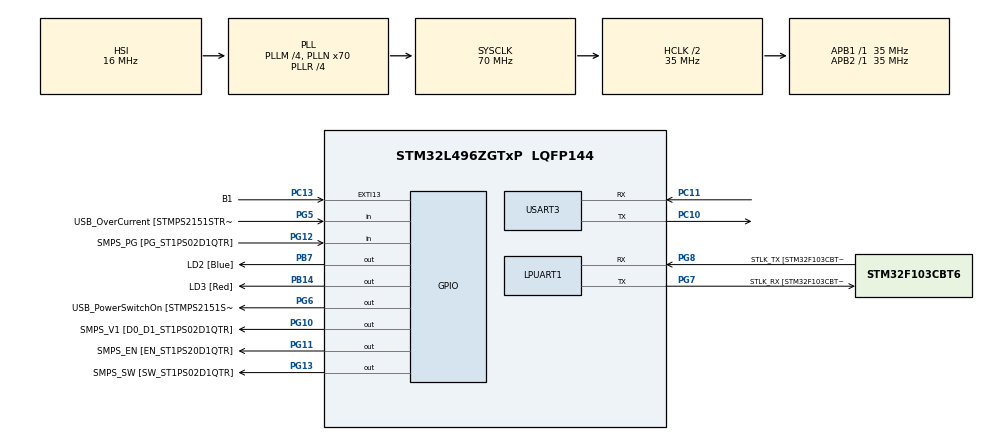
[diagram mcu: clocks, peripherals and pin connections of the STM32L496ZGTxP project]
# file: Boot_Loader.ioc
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Mcu.Family=STM32L4
Mcu.Name=STM32L496ZGTxP
Mcu.Package=LQFP144
NVIC.PriorityGroup=NVIC_PRIORITYGROUP_4
PA10.GPIO_Label=USB_ID
PA10.Signal=USB_OTG_FS_ID
PA11.GPIO_Label=USB_DM
PA11.Signal=USB_OTG_FS_DM
PA12.GPIO_Label=USB_DP
PA12.Signal=USB_OTG_FS_DP
PA13\ (JTMS/SWDIO).GPIO_Label=TMS
PA13\ (JTMS/SWDIO).Mode=Trace_Asynchronous_SW
PA13\ (JTMS/SWDIO).Signal=SYS_JTMS-SWDIO
PA14\ (JTCK/SWCLK).GPIO_Label=TCK
PA14\ (JTCK/SWCLK).Mode=Trace_Asynchronous_SW
PA14\ (JTCK/SWCLK).Signal=SYS_JTCK-SWCLK
PA8.GPIO_Label=USB_SOF [TP1]
PA8.Signal=USB_OTG_FS_SOF
PA9.GPIO_Label=USB_VBUS
PA9.Signal=USB_OTG_FS_VBUS
PB14.GPIO_Label=LD3 [Red]
PB14.Signal=GPIO_Output
PB3\ (JTDO/TRACESWO).GPIO_Label=SWO
PB3\ (JTDO/TRACESWO).Mode=Trace_Asynchronous_SW
PB3\ (JTDO/TRACESWO).Signal=SYS_JTDO-SWO
PB7.GPIO_Label=LD2 [Blue]
PB7.Signal=GPIO_Output
PC10.Mode=Asynchronous
PC10.Signal=USART3_TX
PC11.Mode=Asynchronous
PC11.Signal=USART3_RX
PC13.GPIO_Label=B1
PC13.Signal=GPXTI13
PC14-OSC32_IN\ (PC14).Mode=LSE-External-Oscillator
PC14-OSC32_IN\ (PC14).Signal=RCC_OSC32_IN
PC15-OSC32_OUT\ (PC15).Mode=LSE-External-Oscillator
PC15-OSC32_OUT\ (PC15).Signal=RCC_OSC32_OUT
PG10.GPIO_Label=SMPS_V1 [D0_D1_ST1PS02D1QTR]
PG10.Signal=GPIO_Output
PG11.GPIO_Label=SMPS_EN [EN_ST1PS20D1QTR]
PG11.Signal=GPIO_Output
PG12.GPIO_Label=SMPS_PG [PG_ST1PS02D1QTR]
PG12.Signal=GPIO_Input
PG13.GPIO_Label=SMPS_SW [SW_ST1PS02D1QTR]
PG13.Signal=GPIO_Output
PG5.GPIO_Label=USB_OverCurrent [STMPS2151STR_FAULT]
PG5.Signal=GPIO_Input
PG6.GPIO_Label=USB_PowerSwitchOn [STMPS2151STR_EN]
PG6.Signal=GPIO_Output
PG7.GPIO_Label=STLK_RX [STM32F103CBT6_PA3]
PG7.Mode=Asynchronous
PG7.Signal=LPUART1_TX
PG8.GPIO_Label=STLK_TX [STM32F103CBT6_PA2]
PG8.Mode=Asynchronous
PG8.Signal=LPUART1_RX
PH0-OSC_IN\ (PH0).GPIO_Label=MCO
PH0-OSC_IN\ (PH0).Signal=RCC_OSC_IN
PH1-OSC_OUT\ (PH1).Signal=RCC_OSC_OUT
ProjectManager.HeapSize=0x200
ProjectManager.StackSize=0x400
ProjectManager.TargetToolchain=MDK-ARM V5.32
RCC.48MHZClocksFreq_Value=24000000
RCC.ADCFreq_Value=40000000
RCC.AHBCLKDivider=RCC_SYSCLK_DIV2
RCC.AHBFreq_Value=35000000
RCC.APB1Freq_Value=35000000
RCC.APB1TimFreq_Value=35000000
RCC.APB2Freq_Value=35000000
RCC.APB2TimFreq_Value=35000000
RCC.CortexFreq_Value=35000000
RCC.HCLKFreq_Value=35000000
RCC.HSE_VALUE=8000000
RCC.HSI48_VALUE=48000000
RCC.HSI_VALUE=16000000
RCC.MSIClockRange=RCC_MSIRANGE_9
RCC.MSI_VALUE=24000000
RCC.PLLM=4
RCC.PLLMUL=RCC_PLL_MUL9
RCC.PLLN=70
RCC.PLLR=RCC_PLLR_DIV4
RCC.PLLSAI1N=20
RCC.PLLSourceVirtual=RCC_PLLSOURCE_HSI
RCC.PRESCALERUSB=RCC_USBCLKSOURCE_PLL_DIV1_5
RCC.SYSCLKFreq_VALUE=70000000
RCC.SYSCLKSource=RCC_SYSCLKSOURCE_PLLCLK
RCC.SYSCLKSourceVirtual=RCC_SYSCLKSOURCE_PLLCLK
RCC.USBFreq_Value=40000000
RCC.VCOOutputFreq_Value=280000000
USART3.VirtualMode-Asynchronous=VM_ASYNC
board=NUCLEO-L496ZG-P

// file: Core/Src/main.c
/* USER CODE BEGIN Header */
/**
  ******************************************************************************
  * @file           : main.c
  * @brief          : Main program body
  ******************************************************************************
  * @attention
  *
  * Copyright (c) 2023 STMicroelectronics.
  * All rights reserved.
  *
  * This software is licensed under terms that can be found in the LICENSE file
  * in the root directory of this software component.
  * If no LICENSE file comes with this software, it is provided AS-IS.
  *
  ******************************************************************************
  */
/* USER CODE END Header */
#include "main.h"

/* USER CODE BEGIN Includes */
#include<stdarg.h>
#include<string.h>
#include<stdio.h>
#include<stdint.h>
/* USER CODE END Includes */

/* USER CODE BEGIN PM */
//Enable this line to get debug message over debug uart
#define BL_DEBUG_MSG_EN

#define D_UART 		&huart3
#define C_UART		&hlpuart1

#define FLASH_APP  (FLASH_BASE + 0x8000)
/* USER CODE END PM */

CRC_HandleTypeDef hcrc;

UART_HandleTypeDef hlpuart1;
UART_HandleTypeDef huart3;

void SystemClock_Config(void);
static void MX_GPIO_Init(void);
static void MX_LPUART1_UART_Init(void);
static void MX_USART3_UART_Init(void);
static void MX_CRC_Init(void);
/* USER CODE BEGIN PFP */
static void printmsg(char *format,...);
void bootloader_uart_read_data(void);
void bootloader_jump_to_user_app(void);
/* USER CODE END PFP */

/* USER CODE BEGIN 0 */
char some_data[100]="Application is Running\r\n";

#define BL_RX_LEN 200
uint8_t bl_rx_buffer[BL_RX_LEN];
/* USER CODE END 0 */

int main(void)
{

  /* MCU Configuration--------------------------------------------------------*/

  /* Reset of all peripherals, Initializes the Flash interface and the Systick. */
  HAL_Init();

  /* Configure the system clock */
  SystemClock_Config();

  /* Initialize all configured peripherals */
  MX_GPIO_Init();
  MX_LPUART1_UART_Init();
  MX_USART3_UART_Init();
  MX_CRC_Init();
  /* USER CODE BEGIN 2 */
/* Lets check wether a user button is pressed or not , if not pressed jump to user Application*/
if(HAL_GPIO_ReadPin(GPIOC,GPIO_PIN_13) == GPIO_PIN_SET){
	printmsg("BL_DEBUG_MSG : Button is pressed... going to BL mode\r\n");

	//we should continue in BOOtloader mode
	bootloader_uart_read_data();

}else{
  printmsg("BL_DEBUG_MSG : Button is not pressed... Executing user application\r\n");
	bootloader_jump_to_user_app();
}

  /* USER CODE END 2 */

  /* Infinite loop */

}

void SystemClock_Config(void)
{
  RCC_OscInitTypeDef RCC_OscInitStruct = {0};
  RCC_ClkInitTypeDef RCC_ClkInitStruct = {0};

  /** Configure the main internal regulator output voltage
  */
  if (HAL_PWREx_ControlVoltageScaling(PWR_REGULATOR_VOLTAGE_SCALE1) != HAL_OK)
  {
    Error_Handler();
  }

  /** Initializes the RCC Oscillators according to the specified parameters
  * in the RCC_OscInitTypeDef structure.
  */
  RCC_OscInitStruct.OscillatorType = RCC_OSCILLATORTYPE_HSI;
  RCC_OscInitStruct.HSIState = RCC_HSI_ON;
  RCC_OscInitStruct.HSICalibrationValue = RCC_HSICALIBRATION_DEFAULT;
  RCC_OscInitStruct.PLL.PLLState = RCC_PLL_ON;
  RCC_OscInitStruct.PLL.PLLSource = RCC_PLLSOURCE_HSI;
  RCC_OscInitStruct.PLL.PLLM = 4;
  RCC_OscInitStruct.PLL.PLLN = 70;
  RCC_OscInitStruct.PLL.PLLP = RCC_PLLP_DIV2;
  RCC_OscInitStruct.PLL.PLLQ = RCC_PLLQ_DIV2;
  RCC_OscInitStruct.PLL.PLLR = RCC_PLLR_DIV4;
  if (HAL_RCC_OscConfig(&RCC_OscInitStruct) != HAL_OK)
  {
    Error_Handler();
  }

  /** Initializes the CPU, AHB and APB buses clocks
  */
  RCC_ClkInitStruct.ClockType = RCC_CLOCKTYPE_HCLK|RCC_CLOCKTYPE_SYSCLK
                              |RCC_CLOCKTYPE_PCLK1|RCC_CLOCKTYPE_PCLK2;
  RCC_ClkInitStruct.SYSCLKSource = RCC_SYSCLKSOURCE_PLLCLK;
  RCC_ClkInitStruct.AHBCLKDivider = RCC_SYSCLK_DIV2;
  RCC_ClkInitStruct.APB1CLKDivider = RCC_HCLK_DIV1;
  RCC_ClkInitStruct.APB2CLKDivider = RCC_HCLK_DIV1;

  if (HAL_RCC_ClockConfig(&RCC_ClkInitStruct, FLASH_LATENCY_2) != HAL_OK)
  {
    Error_Handler();
  }
}

static void MX_CRC_Init(void)
{

  hcrc.Instance = CRC;
  hcrc.Init.DefaultPolynomialUse = DEFAULT_POLYNOMIAL_ENABLE;
  hcrc.Init.DefaultInitValueUse = DEFAULT_INIT_VALUE_ENABLE;
  hcrc.Init.InputDataInversionMode = CRC_INPUTDATA_INVERSION_NONE;
  hcrc.Init.OutputDataInversionMode = CRC_OUTPUTDATA_INVERSION_DISABLE;
  hcrc.InputDataFormat = CRC_INPUTDATA_FORMAT_BYTES;
  if (HAL_CRC_Init(&hcrc) != HAL_OK)
  {
    Error_Handler();
  }

}

static void MX_LPUART1_UART_Init(void)
{

  hlpuart1.Instance = LPUART1;
  hlpuart1.Init.BaudRate = 209700;
  hlpuart1.Init.WordLength = UART_WORDLENGTH_7B;
  hlpuart1.Init.StopBits = UART_STOPBITS_1;
  hlpuart1.Init.Parity = UART_PARITY_NONE;
  hlpuart1.Init.Mode = UART_MODE_TX_RX;
  hlpuart1.Init.HwFlowCtl = UART_HWCONTROL_NONE;
  hlpuart1.Init.OneBitSampling = UART_ONE_BIT_SAMPLE_DISABLE;
  hlpuart1.AdvancedInit.AdvFeatureInit = UART_ADVFEATURE_NO_INIT;
  if (HAL_UART_Init(&hlpuart1) != HAL_OK)
  {
    Error_Handler();
  }

}

static void MX_USART3_UART_Init(void)
{

  huart3.Instance = USART3;
  huart3.Init.BaudRate = 115200;
  huart3.Init.WordLength = UART_WORDLENGTH_8B;
  huart3.Init.StopBits = UART_STOPBITS_1;
  huart3.Init.Parity = UART_PARITY_NONE;
  huart3.Init.Mode = UART_MODE_TX_RX;
  huart3.Init.HwFlowCtl = UART_HWCONTROL_NONE;
  huart3.Init.OverSampling = UART_OVERSAMPLING_16;
  huart3.Init.OneBitSampling = UART_ONE_BIT_SAMPLE_DISABLE;
  huart3.AdvancedInit.AdvFeatureInit = UART_ADVFEATURE_NO_INIT;
  if (HAL_UART_Init(&huart3) != HAL_OK)
  {
    Error_Handler();
  }

}

static void MX_GPIO_Init(void)
{
  GPIO_InitTypeDef GPIO_InitStruct = {0};

  /* GPIO Ports Clock Enable */
  __HAL_RCC_GPIOC_CLK_ENABLE();
  __HAL_RCC_GPIOH_CLK_ENABLE();
  __HAL_RCC_GPIOB_CLK_ENABLE();
  __HAL_RCC_GPIOG_CLK_ENABLE();
  HAL_PWREx_EnableVddIO2();
  __HAL_RCC_GPIOA_CLK_ENABLE();

  /*Configure GPIO pin Output Level */
  HAL_GPIO_WritePin(GPIOB, LD3_Pin|LD2_Pin, GPIO_PIN_RESET);

  /*Configure GPIO pin Output Level */
  HAL_GPIO_WritePin(GPIOG, USB_PowerSwitchOn_Pin|SMPS_V1_Pin|SMPS_EN_Pin|SMPS_SW_Pin, GPIO_PIN_RESET);

  /*Configure GPIO pin : B1_Pin */
  GPIO_InitStruct.Pin = B1_Pin;
  GPIO_InitStruct.Mode = GPIO_MODE_IT_RISING;
  GPIO_InitStruct.Pull = GPIO_NOPULL;
  HAL_GPIO_Init(B1_GPIO_Port, &GPIO_InitStruct);

  /*Configure GPIO pins : LD3_Pin LD2_Pin */
  GPIO_InitStruct.Pin = LD3_Pin|LD2_Pin;
  GPIO_InitStruct.Mode = GPIO_MODE_OUTPUT_PP;
  GPIO_InitStruct.Pull = GPIO_NOPULL;
  GPIO_InitStruct.Speed = GPIO_SPEED_FREQ_LOW;
  HAL_GPIO_Init(GPIOB, &GPIO_InitStruct);

  /*Configure GPIO pins : USB_OverCurrent_Pin SMPS_PG_Pin */
  GPIO_InitStruct.Pin = USB_OverCurrent_Pin|SMPS_PG_Pin;
  GPIO_InitStruct.Mode = GPIO_MODE_INPUT;
  GPIO_InitStruct.Pull = GPIO_NOPULL;
  HAL_GPIO_Init(GPIOG, &GPIO_InitStruct);

  /*Configure GPIO pins : USB_PowerSwitchOn_Pin SMPS_V1_Pin SMPS_EN_Pin SMPS_SW_Pin */
  GPIO_InitStruct.Pin = USB_PowerSwitchOn_Pin|SMPS_V1_Pin|SMPS_EN_Pin|SMPS_SW_Pin;
  GPIO_InitStruct.Mode = GPIO_MODE_OUTPUT_PP;
  GPIO_InitStruct.Pull = GPIO_NOPULL;
  GPIO_InitStruct.Speed = GPIO_SPEED_FREQ_LOW;
  HAL_GPIO_Init(GPIOG, &GPIO_InitStruct);

  /*Configure GPIO pins : USB_SOF_Pin USB_ID_Pin USB_DM_Pin USB_DP_Pin */
  GPIO_InitStruct.Pin = USB_SOF_Pin|USB_ID_Pin|USB_DM_Pin|USB_DP_Pin;
  GPIO_InitStruct.Mode = GPIO_MODE_AF_PP;
  GPIO_InitStruct.Pull = GPIO_NOPULL;
  GPIO_InitStruct.Speed = GPIO_SPEED_FREQ_VERY_HIGH;
  GPIO_InitStruct.Alternate = GPIO_AF10_OTG_FS;
  HAL_GPIO_Init(GPIOA, &GPIO_InitStruct);

}

/* USER CODE BEGIN 4 */

void bootloader_uart_read_data(void){

	uint8_t rcv_len=0;

	while(1){
		memset(bl_rx_buffer,0,200);

		//here we will read and decode commands coming from Host
		//first read only one byte from the host , whic is the "length" field of command
		HAL_UART_Receive(C_UART,bl_rx_buffer,1,HAL_MAX_DELAY);
		rcv_len=bl_rx_buffer[0];

		HAL_UART_Receive(C_UART, &bl_rx_buffer[1],rcv_len,HAL_MAX_DELAY);
		switch(bl_rx_buffer[1]){
						case BL_GET_VER:
                bootloader_handle_getver_cmd(bl_rx_buffer);
                break;
            case BL_GET_HELP:
                bootloader_handle_gethelp_cmd(bl_rx_buffer);
                break;
            case BL_GET_CID:
                bootloader_handle_getcid_cmd(bl_rx_buffer);
                break;
            case BL_GET_RDP_STATUS:
                bootloader_handle_getrdp_cmd(bl_rx_buffer);
                break;
            case BL_GO_TO_ADDR:
                bootloader_handle_go_cmd(bl_rx_buffer);
                break;
            case BL_FLASH_ERASE:
                bootloader_handle_flash_erase_cmd(bl_rx_buffer);
                break;
            case BL_MEM_WRITE:
                bootloader_handle_mem_write_cmd(bl_rx_buffer);
                break;
            case BL_EN_RW_PROTECT:
                bootloader_handle_en_rw_protect(bl_rx_buffer);
                break;
            case BL_MEM_READ:
                bootloader_handle_mem_read(bl_rx_buffer);
                break;
            case BL_READ_SECTOR_P_STATUS:
                bootloader_handle_read_sector_protection_status(bl_rx_buffer);
                break;
            case BL_OTP_READ:
                bootloader_handle_read_otp(bl_rx_buffer);
                break;
						case BL_DIS_R_W_PROTECT:
                bootloader_handle_dis_rw_protect(bl_rx_buffer);
                break;
             default:
                printmsg("BL_DEBUG_MSG:Invalid command code received from host \n");
                break;

		}
	}

}

/*code to jump to user application
*Here we are assuming FLASH_BASE + 0x8000 (0x08000000 + 0x8000)
*is where the user application is stored*/
void bootloader_jump_to_user_app(void){
 //just a function pointer to hold the address of the reset handler of the user app.
    void (*app_reset_handler)(void);

    printmsg("BL_DEBUG_MSG:bootloader_jump_to_user_app\n");

    // 1. configure the MSP by reading the value from the base address of the Application FLASH
    uint32_t msp_value = *(volatile uint32_t *)FLASH_APP;
    printmsg("BL_DEBUG_MSG:MSP value : %#x\n",msp_value);

    //This function comes from CMSIS.
    __set_MSP(msp_value);

    //SCB->VTOR = FLASH_APP;

    /* 2. Now fetch the reset handler address of the user application
     * from the location FLASH_APP+4
     */
    uint32_t resethandler_address = *(volatile uint32_t *) (FLASH_APP + 4);

    app_reset_handler = (void*) resethandler_address;

    printmsg("BL_DEBUG_MSG: app reset handler addr : %#x\n",app_reset_handler);

    //3. jump to reset handler of the user application
    app_reset_handler();

}
/*prints formatted string to console over UART*/
void printmsg(char *format,...){
#ifdef BL_DEBUG_MSG_EN
	char str[80];

	/*Extract the argument list using VA apis*/
	va_list args;
	va_start(args,format);
	vsprintf(str,format,args);
	HAL_UART_Transmit(D_UART,(uint8_t *)str,strlen(str),HAL_MAX_DELAY);
	va_end(args);

#endif
}

/*************Bootloader Handle Functions*************/

void bootloader_handle_getver_cmd(uint8_t *bl_rx_buffer)
{
    uint8_t bl_version;

    // 1) verify the checksum
      printmsg("BL_DEBUG_MSG:bootloader_handle_getver_cmd\n");

	 //Total length of the command packet
	  uint32_t command_packet_len = bl_rx_buffer[0]+1 ;

	  //extract the CRC32 sent by the Host
	  uint32_t host_crc = *((uint32_t * ) (bl_rx_buffer+command_packet_len - 4) ) ;

    if (! bootloader_verify_crc(&bl_rx_buffer[0],command_packet_len-4,host_crc))
    {
        printmsg("BL_DEBUG_MSG:checksum success !!\n");
        // checksum is correct..
        bootloader_send_ack(bl_rx_buffer[0],1);
        bl_version=get_bootloader_version();
        printmsg("BL_DEBUG_MSG:BL_VER : %d %#x\n",bl_version,bl_version);
        bootloader_uart_write_data(&bl_version,1);

    }else
    {
        printmsg("BL_DEBUG_MSG:checksum fail !!\n");
        //checksum is wrong send nack
        bootloader_send_nack();
    }

}

void bootloader_handle_gethelp_cmd(uint8_t *bl_rx_buffer){

}
void bootloader_handle_getcid_cmd(uint8_t *bl_rx_buffer){

}
void bootloader_handle_getrdp_cmd(uint8_t *bl_rx_buffer){

}
void bootloader_handle_go_cmd(uint8_t *bl_rx_buffer){

}
void bootloader_handle_flash_erase_cmd(uint8_t *bl_rx_buffer){

}
void bootloader_handle_mem_write_cmd(uint8_t *bl_rx_buffer){

}
void bootloader_handle_en_rw_protect(uint8_t *bl_rx_buffer){

}
void bootloader_handle_mem_read(uint8_t *bl_rx_buffer){

}
void bootloader_handle_read_sector_protection_status(uint8_t *bl_rx_buffer){

}
void bootloader_handle_read_otp(uint8_t *bl_rx_buffer){

}
void bootloader_handle_dis_rw_protect(uint8_t *bl_rx_buffer){

}

/*This fucntion sends ACK if CRC  atches slong with"len to follw"*/
void bootloader_send_ack(uint8_t command_code,uint8_t follow_len)
{
//Here we send two bytes first byte is ack and the second byte is len value
	uint8_t ack_buf[2];
	ack_buf[0] = BL_ACK;
	ack_buf[1] = follow_len;
	HAL_UART_Transmit(C_UART,ack_buf,2,HAL_MAX_DELAY);
}

void bootloader_send_nack(void)
{
	uint8_t nack = BL_NACK;
	HAL_UART_Transmit(C_UART,&nack,1,HAL_MAX_DELAY);
}

//This verifies the CRC of the given buffer in pData .
uint8_t bootloader_verify_crc (uint8_t *pData, uint32_t len, uint32_t crc_host)
{
    uint32_t uwCRCValue=0xff;

    for (uint32_t i=0 ; i < len ; i++)
	{
        uint32_t i_data = pData[i];
        uwCRCValue = HAL_CRC_Accumulate(&hcrc, &i_data, 1);
	}

	 /* Reset CRC Calculation Unit */
  __HAL_CRC_DR_RESET(&hcrc);

	if( uwCRCValue == crc_host)
	{
		return VERIFY_CRC_SUCCESS;
	}

	return VERIFY_CRC_FAIL;
}

/* This function writes data in to C_UART */
void bootloader_uart_write_data(uint8_t *pBuffer,uint32_t len)
{
    /*you can replace the below ST's USART driver API call with your MCUs driver API call */
	HAL_UART_Transmit(C_UART,pBuffer,len,HAL_MAX_DELAY);

}

//Just returns the macro value .
uint8_t get_bootloader_version(void)
{
  return (uint8_t)BL_VERSION;
}
/* USER CODE END 4 */

void Error_Handler(void)
{
  __disable_irq();
  while (1)
  {
  }
}
